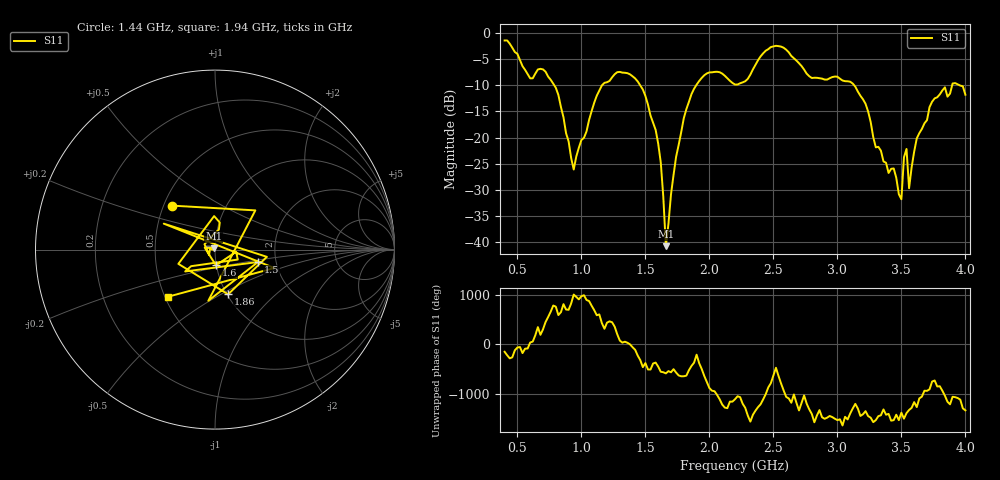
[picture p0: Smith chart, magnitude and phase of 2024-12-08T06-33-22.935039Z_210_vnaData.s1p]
!Created with skrf (http://scikit-rf.org).
# Hz S RI R 50.0
!freq ReS11 ImS11
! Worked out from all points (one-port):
!   181 points, 400 MHz to 4 GHz, reference 50 ohm
!   lowest |S11| = -40.7 dB at 1.66 GHz (marker M1), VSWR 1.02, Z = 49.3 + j0.614 ohm
!   |S11| at or under -10 dB: 787.4 MHz to 1.162 GHz (374.5 MHz wide, 38.4 % of centre); 1.458 GHz to 1.898 GHz (439.5 MHz wide, 26.2 % of centre); 3.13 GHz to 3.897 GHz (766.4 MHz wide, 21.8 % of centre) (the widest 3 of 4)
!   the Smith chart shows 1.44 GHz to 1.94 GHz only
!   S11 on the Smith chart (normalised r, x): 1.44 GHz: 0.55, +0.31; 1.5 GHz: 1.61, -0.24; 1.6 GHz: 1.00, -0.18; 1.86 GHz: 1.01, -0.54; 1.94 GHz: 0.52, -0.32
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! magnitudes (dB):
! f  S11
! 400 MHz  -1.5
! 600 MHz  -8.7
! 720 MHz  -7.4
! 860 MHz  -16.1
! 940 MHz  -26.1
! 1.12 GHz  -12.0
! 1.3 GHz  -7.5
! 1.44 GHz  -9.3
! 1.5 GHz  -12.1
! 1.6 GHz  -21.2
! 1.62 GHz  -24.7
! 1.66 GHz  -40.7
! 1.76 GHz  -21.4
! 1.86 GHz  -11.7
! 1.94 GHz  -8.6
! 2.2 GHz  -9.9
! 2.48 GHz  -2.7
! 2.66 GHz  -4.9
! 3.1 GHz  -9.3
! 3.44 GHz  -25.9
! 3.5 GHz  -31.8
! 3.52 GHz  -23.8
! 3.54 GHz  -22.2
! 3.56 GHz  -29.7
! 3.62 GHz  -20.2
! 3.74 GHz  -13.2
! 3.9 GHz  -9.7
! 4 GHz  -11.8
